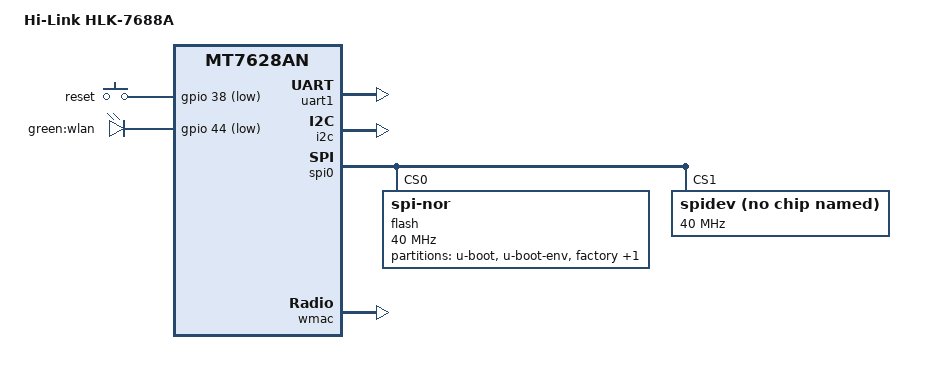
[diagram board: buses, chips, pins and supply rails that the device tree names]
// SPDX-License-Identifier: GPL-2.0-or-later OR MIT

#include "mt7628an.dtsi"

#include <dt-bindings/gpio/gpio.h>
#include <dt-bindings/input/input.h>

/ {
	compatible = "hilink,hlk-7688a", "mediatek,mt7628an-soc";
	model = "Hi-Link HLK-7688A";

	aliases {
		led-boot = &led_wlan;
		led-failsafe = &led_wlan;
		led-upgrade = &led_wlan;
	};

	keys {
		compatible = "gpio-keys";

		reset {
			label = "reset";
			gpios = <&gpio 38 GPIO_ACTIVE_LOW>;
			linux,code = <KEY_RESTART>;
		};
	};

	leds {
		compatible = "gpio-leds";

		led_wlan: wlan {
			label = "green:wlan";
			gpios = <&gpio 44 GPIO_ACTIVE_LOW>;
			linux,default-trigger = "phy0tpt";
		};
	};
};

&state_default {
	gpio {
		groups = "wdt", "wled_an";
		function = "gpio";
	};
};

&uart1 {
	status = "okay";
};

&i2c {
	status = "okay";
};

&spi0 {
	status = "okay";

	pinctrl-names = "default";
	pinctrl-0 = <&spi_pins>, <&spi_cs1_pins>;

	flash@0 {
		compatible = "jedec,spi-nor";
		reg = <0>;
		spi-max-frequency = <40000000>;
		broken-flash-reset;

		partitions {
			compatible = "fixed-partitions";
			#address-cells = <1>;
			#size-cells = <1>;

			partition@0 {
				label = "u-boot";
				reg = <0x0 0x30000>;
				read-only;
			};

			partition@30000 {
				label = "u-boot-env";
				reg = <0x30000 0x10000>;
				read-only;
			};

			factory: partition@40000 {
				label = "factory";
				reg = <0x40000 0x10000>;
				read-only;
			};

			partition@50000 {
				compatible = "denx,uimage";
				label = "firmware";
				reg = <0x50000 0x1fb0000>;
			};
		};
	};

	spidev@1 {
		#address-cells = <1>;
		#size-cells = <1>;
		compatible = "linux,spidev";
		reg = <1>;
		spi-max-frequency = <40000000>;
	};
};

&ethernet {
	nvmem-cells = <&macaddr_factory_28>;
	nvmem-cell-names = "mac-address";
};

&esw {
	mediatek,portmap = <0x3e>;
};

&wmac {
	status = "okay";

	mediatek,mtd-eeprom = <&factory 0x0>;
};

&factory {
	compatible = "nvmem-cells";
	#address-cells = <1>;
	#size-cells = <1>;

	macaddr_factory_28: macaddr@28 {
		reg = <0x28 0x6>;
	};
};
